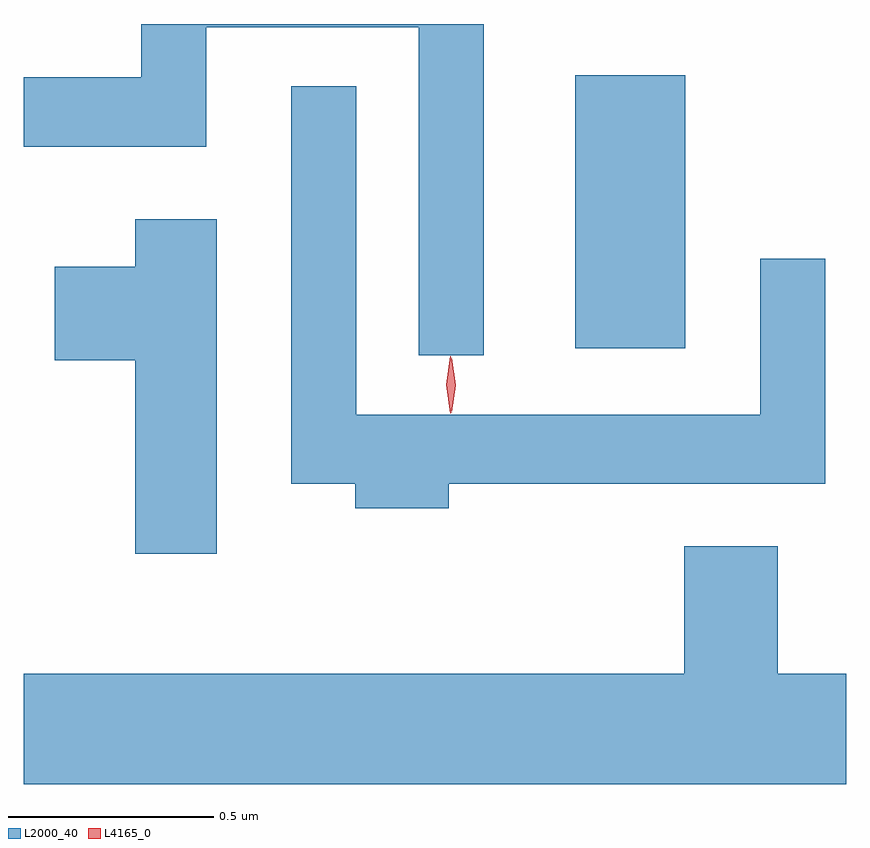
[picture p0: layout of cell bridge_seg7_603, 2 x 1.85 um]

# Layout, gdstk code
import gdstk
lib = gdstk.Library(unit=1e-6, precision=1e-09)
def R(c, l, rs):  # rectangles x0, y0, x1, y1
    for r in rs: c.add(gdstk.rectangle(r[:2], r[2:], *l))
def P(c, l, *ps):  # polygons
    for p in ps: c.add(gdstk.Polygon(p, *l))
L2000_40 = (2000, 40)
L4165_0 = (4165, 0)

bridge_seg7_603 = lib.new_cell('bridge_seg7_603')
R(bridge_seg7_603, L2000_40, [(659.256,1793.076,659.524,1793.739)])
P(bridge_seg7_603, L2000_40, [(659.034,1793.864),(658.201,1793.864),(658.201,1793.734),(657.915,1793.734),(657.915,1793.566),(658.359,1793.566),(658.359,1793.856),(658.876,1793.856),(658.876,1793.058),(659.034,1793.058)],
  [(658.949,1792.746),(659.864,1792.746),(659.864,1793.293),(659.706,1793.293),(659.706,1792.914),(658.724,1792.914),(658.724,1793.713),(658.566,1793.713),(658.566,1792.746),(658.721,1792.746),(658.721,1792.686),(658.949,1792.686)],
  [(658.384,1793.389),(658.186,1793.389),(658.186,1793.274),(657.991,1793.274),(657.991,1793.046),(658.186,1793.046),(658.186,1792.576),(658.384,1792.576)],
  [(659.915,1792.284),(659.749,1792.284),(659.749,1792.594),(659.521,1792.594),(659.521,1792.284),(657.915,1792.284),(657.915,1792.016),(659.915,1792.016)])
P(bridge_seg7_603, L4165_0, [(658.956,1792.919),(658.956,1792.92),(658.946,1792.986),(658.956,1793.052),(658.956,1793.053),(658.956,1793.052),(658.966,1792.986),(658.956,1792.92)],
  [(658.952,1792.917),(658.952,1792.917),(658.942,1792.987),(658.952,1793.056),(658.952,1793.056),(658.953,1793.056),(658.962,1792.987),(658.953,1792.917)])

lib.write_gds('bridge_seg7_603.gds')
